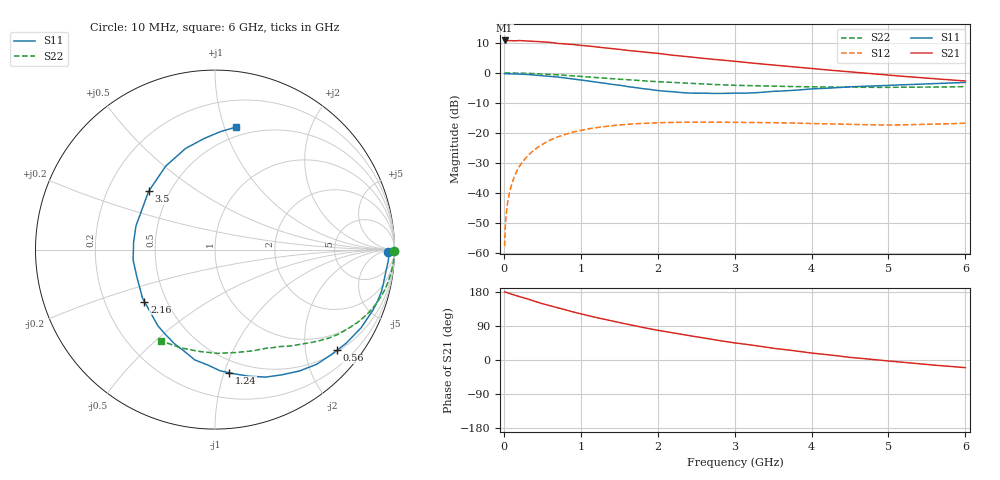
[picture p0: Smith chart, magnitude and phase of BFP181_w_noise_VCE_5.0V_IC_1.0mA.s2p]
! Infineon Technologies  Discrete & RF Semiconductors
! BFP181
! VCE = 5.0 V,  IC =  1.0 mA
! Common Emitter S-Parameters:  Jan 2016
# GHz  S  MA  R  50
!  f  S11  S21  S12  S22
! GHz  MAG  ANG  MAG  ANG  MAG  ANG  MAG  ANG
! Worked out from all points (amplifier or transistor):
!   210 points, 10 MHz to 6 GHz, reference 50 ohm
!   highest |S21| = 10.8 dB at 10 MHz (marker M1)
!   |S21| within 3 dB of that: start of sweep to 1.515 GHz
!   unconditionally stable (mu >= 1): 3.094 GHz to end of sweep
!   at 185 MHz: K = 0.07, MSG = 21.3 dB, |S12| = -31.9 dB
!   at 1.52 GHz: K = 0.52, MSG = 12.5 dB, |S12| = -17.3 dB
!   at 6 GHz: K = 1.27, MAG = 3.9 dB, |S12| = -16.8 dB
!   lowest NFmin = 1.30 dB at 450 MHz
!   S11 on the Smith chart (normalised r, x): 10 MHz: 48, -19; 560 MHz: 0.54, -2.69; 1.24 GHz: 0.40, -1.04; 2.16 GHz: 0.38, -0.29; 3.5 GHz: 0.38, +0.33; 6 GHz: 0.42, +1.10
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0.01  0.9647 -0.8  3.464 179.6  0.0013 85.2  0.9981 -0.3
0.015  0.9664 -1.2  3.453 179.5  0.0021 84.1  0.9979 -0.4
0.025  0.9681 -1.8  3.443 179.0  0.0036 86.0  0.9976 -0.8
0.05  0.9682 -3.4  3.45 176.9  0.007 91.1  0.9968 -1.7
0.08  0.9625 -5.6  3.437 175.0  0.011 87.2  0.9973 -2.7
0.14  0.9577 -10.1  3.417 171.3  0.0192 83.1  0.9942 -4.7
0.2  0.956 -14.3  3.45 167.4  0.0274 81.0  0.9914 -6.6
0.3  0.9421 -21.0  3.38 161.8  0.0401 75.6  0.983 -10.0
0.4  0.9231 -28.2  3.348 154.9  0.0528 71.5  0.9728 -13.2
0.56  0.8815 -39.5  3.245 145.4  0.0712 63.7  0.9495 -18.0
0.8  0.8241 -55.1  3.047 132.1  0.0946 54.3  0.9099 -24.6
1.02  0.757 -69.6  2.856 120.7  0.1114 46.2  0.8681 -30.0
1.24  0.6899 -83.6  2.67 110.4  0.1244 39.0  0.829 -34.9
1.64  0.5836 -109.0  2.344 93.0  0.1401 28.7  0.7644 -41.9
2.02  0.5042 -134.8  2.097 77.8  0.148 20.8  0.7117 -47.8
2.16  0.4883 -143.6  1.991 72.8  0.1494 18.2  0.6954 -50.0
2.78  0.4549 175.9  1.66 52.0  0.1509 9.2  0.6371 -58.9
3.1  0.4591 158.3  1.512 42.7  0.1494 5.6  0.616 -63.6
3.5  0.4923 138.7  1.354 31.0  0.1482 2.3  0.6017 -69.7
4.1  0.5467 117.5  1.151 16.3  0.1423 -0.7  0.582 -80.7
5.1  0.6268 94.2  0.895 -4.4  0.1358 -0.9  0.5737 -101.1
6  0.6929 80.2  0.732 -20.3  0.1448 1.6  0.5899 -120.4
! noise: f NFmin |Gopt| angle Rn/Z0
0.45  1.3  0.7  18  0.5
0.9  1.4  0.6  39  0.52
1.8  1.85  0.4  81  0.47
